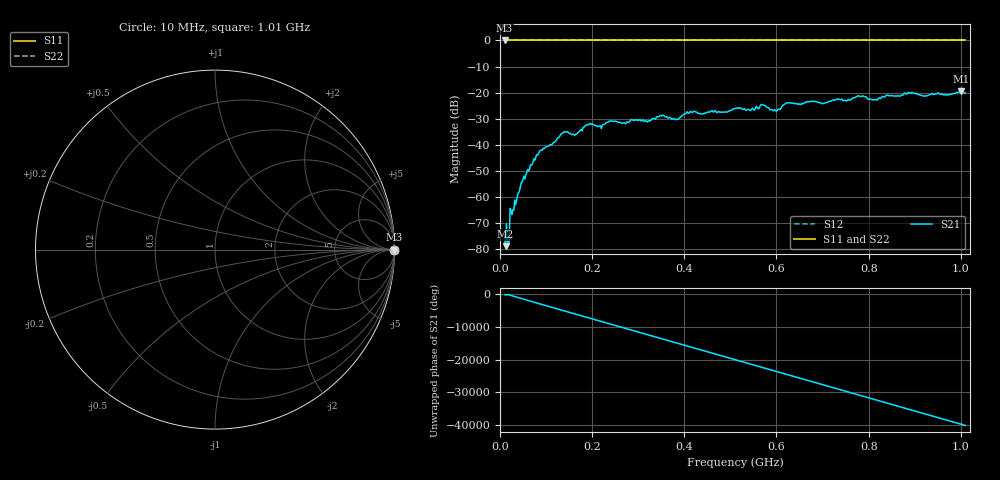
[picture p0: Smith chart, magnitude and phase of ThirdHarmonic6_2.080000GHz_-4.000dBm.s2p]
! 8/17/2025 12:54:12 AM
! C:\ANRITSUVNA\TEMP\TEMP.S2P
! CHANNEL.1
! TR.MEASUREMENT
! RAW.DATA
! RF.CORRECTION.OFF
! AVERAGING.OFF
! IF.BANDWIDTH: 5KHZ
! SWEEPTYPE:  FREQ.SWEEP(Linear)
! Reference Plane Port Info
! PORT:  PORT1  PORT2
! DISTANCE:  0  m  0  m
! TIME:  0  s  0  s
! PHASE.OFFSET:  0  deg.  0  deg.
! LOSS:  0  dB  0  dB
! REF.LOSS:  0  dB  0  dB
! REF.FREQ:  0  Hz  0  Hz
! Power Info
! POWER:  -20  dBm  -20  dBm
! EFF.POWER:  -20  dBm  -20  dBm
! SOURCE.ATTEN:  0  dB  0  dB
! TEST.ATTEN:  0  dB  0  dB
# GHZ S RI R 50.0
! FREQ.GHZ  S11RE  S11IM  S21RE  S21IM  S12RE  S12IM  S22RE  S22IM
!; PortSelection: Port_12
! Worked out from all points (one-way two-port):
!   501 points, 10 MHz to 1.01 GHz, reference 50 ohm
!   highest |S21| = -19.44 dB at 1 GHz (marker M1); lowest = -78.8 dB at 12 MHz (marker M2)
!   lowest |S11| = 0.0 dB at 10 MHz (marker M3)
!   |S11| at or under -10 dB: nowhere
!   |S22| runs from 0.0 to 0.0 dB; largest |S21 - S12| = 1.1
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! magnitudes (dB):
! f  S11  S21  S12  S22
! 10 MHz  0.0  -74.3  0.0  0.0
! 12 MHz  0.0  -78.8  0.0  0.0
! 16 MHz  0.0  -76.3  0.0  0.0
! 26 MHz  0.0  -66.8  0.0  0.0
! 48 MHz  0.0  -54.3  0.0  0.0
! 82 MHz  0.0  -43.8  0.0  0.0
! 136 MHz  0.0  -35.5  0.0  0.0
! 162 MHz  0.0  -36.4  0.0  0.0
! 178 MHz  0.0  -34.7  0.0  0.0
! 192 MHz  0.0  -32.4  0.0  0.0
! 322 MHz  0.0  -30.9  0.0  0.0
! 344 MHz  0.0  -29.3  0.0  0.0
! 384 MHz  0.0  -30.2  0.0  0.0
! 410 MHz  0.0  -28.0  0.0  0.0
! 510 MHz  0.0  -26.1  0.0  0.0
! 570 MHz  0.0  -24.6  0.0  0.0
! 598 MHz  0.0  -26.9  0.0  0.0
! 624 MHz  0.0  -23.9  0.0  0.0
! 678 MHz  0.0  -23.4  0.0  0.0
! 844 MHz  0.0  -21.2  0.0  0.0
! 1 GHz  0.0  -19.4  0.0  0.0
! 1.01 GHz  0.0  -20.2  0.0  0.0
